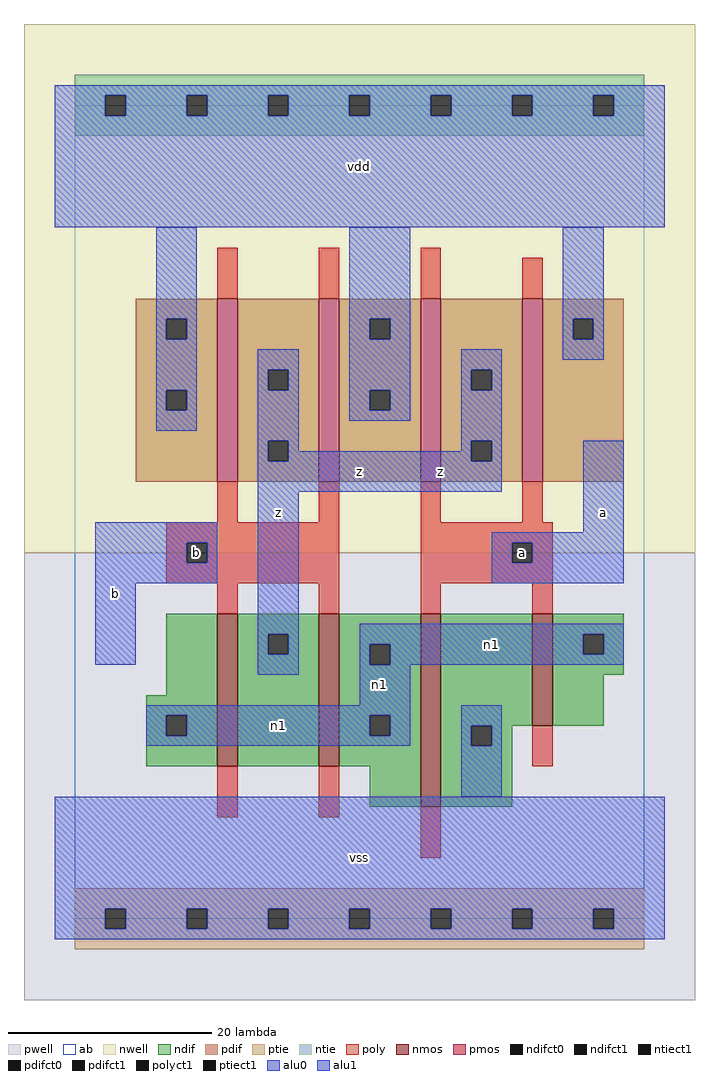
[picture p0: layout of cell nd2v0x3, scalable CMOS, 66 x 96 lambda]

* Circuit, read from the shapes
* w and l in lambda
.subckt nd2v0x3 a b n1 vdd vss z
M1 z b n1 vss nfet w=15 l=2 m=2
M2 vss a n1 vss nfet w=19 l=2
M3 n1 a vss vss nfet w=11 l=2
M4 z b vdd vdd pfet w=18 l=2 m=2
M5 z a vdd vdd pfet w=18 l=2 m=2
.ends

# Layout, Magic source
magic
tech scmos
<< ab >>
rect 0 0 56 80
<< nwell >>
rect -5 36 61 88
<< pwell >>
rect -5 -8 61 36
<< poly >>
rect 14 61 16 66
rect 24 61 26 66
rect 34 61 36 66
rect 44 61 46 65
rect 14 39 16 43
rect 24 39 26 43
rect 9 37 26 39
rect 9 35 11 37
rect 13 35 26 37
rect 9 33 26 35
rect 14 30 16 33
rect 24 30 26 33
rect 34 39 36 43
rect 44 39 46 43
rect 34 37 47 39
rect 34 35 43 37
rect 45 35 47 37
rect 34 33 47 35
rect 34 30 36 33
rect 45 30 47 33
rect 14 10 16 15
rect 24 10 26 15
rect 45 15 47 19
rect 34 6 36 11
<< ndif >>
rect 9 22 14 30
rect 7 20 14 22
rect 7 18 9 20
rect 11 18 14 20
rect 7 15 14 18
rect 16 28 24 30
rect 16 26 19 28
rect 21 26 24 28
rect 16 15 24 26
rect 26 27 34 30
rect 26 25 29 27
rect 31 25 34 27
rect 26 20 34 25
rect 26 18 29 20
rect 31 18 34 20
rect 26 15 34 18
rect 29 11 34 15
rect 36 19 45 30
rect 47 28 54 30
rect 47 26 50 28
rect 52 26 54 28
rect 47 24 54 26
rect 47 19 52 24
rect 36 17 39 19
rect 41 17 43 19
rect 36 11 43 17
<< pdif >>
rect 6 59 14 61
rect 6 57 9 59
rect 11 57 14 59
rect 6 52 14 57
rect 6 50 9 52
rect 11 50 14 52
rect 6 43 14 50
rect 16 54 24 61
rect 16 52 19 54
rect 21 52 24 54
rect 16 47 24 52
rect 16 45 19 47
rect 21 45 24 47
rect 16 43 24 45
rect 26 59 34 61
rect 26 57 29 59
rect 31 57 34 59
rect 26 52 34 57
rect 26 50 29 52
rect 31 50 34 52
rect 26 43 34 50
rect 36 54 44 61
rect 36 52 39 54
rect 41 52 44 54
rect 36 47 44 52
rect 36 45 39 47
rect 41 45 44 47
rect 36 43 44 45
rect 46 59 54 61
rect 46 57 49 59
rect 51 57 54 59
rect 46 43 54 57
<< alu1 >>
rect -2 81 58 82
rect -2 79 3 81
rect 5 79 11 81
rect 13 79 19 81
rect 21 79 27 81
rect 29 79 35 81
rect 37 79 43 81
rect 45 79 51 81
rect 53 79 58 81
rect -2 68 58 79
rect 18 54 22 56
rect 18 52 19 54
rect 21 52 22 54
rect 18 47 22 52
rect 38 54 42 56
rect 38 52 39 54
rect 41 52 42 54
rect 18 45 19 47
rect 21 46 22 47
rect 38 47 42 52
rect 38 46 39 47
rect 21 45 39 46
rect 41 45 42 47
rect 18 42 42 45
rect 2 37 14 39
rect 2 35 11 37
rect 13 35 14 37
rect 2 33 14 35
rect 2 25 6 33
rect 18 28 22 42
rect 50 38 54 47
rect 41 37 54 38
rect 41 35 43 37
rect 45 35 54 37
rect 41 33 54 35
rect 18 26 19 28
rect 21 26 22 28
rect 18 24 22 26
rect -2 1 58 12
rect -2 -1 3 1
rect 5 -1 11 1
rect 13 -1 19 1
rect 21 -1 27 1
rect 29 -1 35 1
rect 37 -1 43 1
rect 45 -1 51 1
rect 53 -1 58 1
rect -2 -2 58 -1
<< ptie >>
rect 0 1 56 3
rect 0 -1 3 1
rect 5 -1 11 1
rect 13 -1 19 1
rect 21 -1 27 1
rect 29 -1 35 1
rect 37 -1 43 1
rect 45 -1 51 1
rect 53 -1 56 1
rect 0 -3 56 -1
<< ntie >>
rect 0 81 56 83
rect 0 79 3 81
rect 5 79 11 81
rect 13 79 19 81
rect 21 79 27 81
rect 29 79 35 81
rect 37 79 43 81
rect 45 79 51 81
rect 53 79 56 81
rect 0 77 56 79
<< nmos >>
rect 14 15 16 30
rect 24 15 26 30
rect 34 11 36 30
rect 45 19 47 30
<< pmos >>
rect 14 43 16 61
rect 24 43 26 61
rect 34 43 36 61
rect 44 43 46 61
<< polyct1 >>
rect 11 35 13 37
rect 43 35 45 37
<< ndifct0 >>
rect 9 18 11 20
rect 29 25 31 27
rect 29 18 31 20
rect 50 26 52 28
rect 39 17 41 19
<< ndifct1 >>
rect 19 26 21 28
<< ntiect1 >>
rect 3 79 5 81
rect 11 79 13 81
rect 19 79 21 81
rect 27 79 29 81
rect 35 79 37 81
rect 43 79 45 81
rect 51 79 53 81
<< ptiect1 >>
rect 3 -1 5 1
rect 11 -1 13 1
rect 19 -1 21 1
rect 27 -1 29 1
rect 35 -1 37 1
rect 43 -1 45 1
rect 51 -1 53 1
<< pdifct0 >>
rect 9 57 11 59
rect 9 50 11 52
rect 29 57 31 59
rect 29 50 31 52
rect 49 57 51 59
<< pdifct1 >>
rect 19 52 21 54
rect 19 45 21 47
rect 39 52 41 54
rect 39 45 41 47
<< alu0 >>
rect 8 59 12 68
rect 8 57 9 59
rect 11 57 12 59
rect 8 52 12 57
rect 27 59 33 68
rect 27 57 29 59
rect 31 57 33 59
rect 8 50 9 52
rect 11 50 12 52
rect 8 48 12 50
rect 27 52 33 57
rect 48 59 52 68
rect 48 57 49 59
rect 51 57 52 59
rect 27 50 29 52
rect 31 50 33 52
rect 27 49 33 50
rect 48 55 52 57
rect 28 28 54 29
rect 28 27 50 28
rect 28 25 29 27
rect 31 26 50 27
rect 52 26 54 28
rect 31 25 54 26
rect 28 21 33 25
rect 7 20 33 21
rect 7 18 9 20
rect 11 18 29 20
rect 31 18 33 20
rect 7 17 33 18
rect 38 19 42 21
rect 38 17 39 19
rect 41 17 42 19
rect 38 12 42 17
<< labels >>
rlabel alu0 30 23 30 23 6 n1
rlabel alu0 20 19 20 19 6 n1
rlabel alu0 41 27 41 27 6 n1
rlabel alu1 4 32 4 32 6 b
rlabel polyct1 12 36 12 36 6 b
rlabel alu1 20 40 20 40 6 z
rlabel alu1 28 6 28 6 6 vss
rlabel alu1 36 44 36 44 6 z
rlabel alu1 28 44 28 44 6 z
rlabel alu1 28 74 28 74 6 vdd
rlabel polyct1 44 36 44 36 6 a
rlabel alu1 52 40 52 40 6 a
<< end >>
